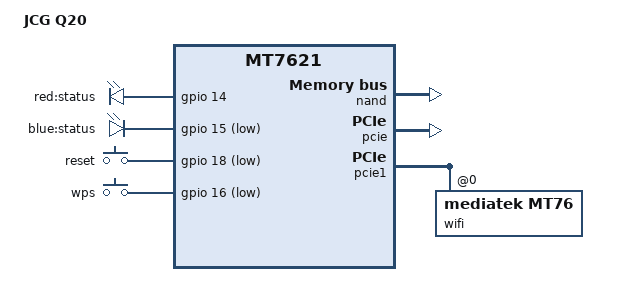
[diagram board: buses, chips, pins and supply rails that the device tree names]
// SPDX-License-Identifier: GPL-2.0-or-later OR MIT

#include "mt7621.dtsi"

#include <dt-bindings/gpio/gpio.h>
#include <dt-bindings/input/input.h>

/ {
	compatible = "jcg,q20", "mediatek,mt7621-soc";
	model = "JCG Q20";

	aliases {
		led-boot = &led_status_red;
		led-failsafe = &led_status_red;
		led-running = &led_status_blue;
		led-upgrade = &led_status_blue;
		label-mac-device = &gmac0;
	};

	chosen {
		bootargs = "console=ttyS0,115200";
	};

	leds {
		compatible = "gpio-leds";

		led_status_red: status_red {
			label = "red:status";
			gpios = <&gpio 14 GPIO_ACTIVE_HIGH>;
		};

		led_status_blue: status_blue {
			label = "blue:status";
			gpios = <&gpio 15 GPIO_ACTIVE_LOW>;
		};
	};

	keys {
		compatible = "gpio-keys";

		reset {
			label = "reset";
			gpios = <&gpio 18 GPIO_ACTIVE_LOW>;
			linux,code = <KEY_RESTART>;
		};

		wps {
			label = "wps";
			gpios = <&gpio 16 GPIO_ACTIVE_LOW>;
			linux,code = <KEY_WPS_BUTTON>;
		};
	};

	ubi-concat {
		compatible = "mtd-concat";
		devices = <&ubiconcat0 &ubiconcat1>;

		partitions {
			compatible = "fixed-partitions";
			#address-cells = <1>;
			#size-cells = <1>;

			partition@0 {
				label = "ubi";
				reg = <0x0 0x5900000>;
			};
		};
	};
};

&nand {
	status = "okay";

	partitions {
		compatible = "fixed-partitions";
		#address-cells = <1>;
		#size-cells = <1>;

		partition@0 {
			label = "Bootloader";
			reg = <0x0 0x80000>;
			read-only;
		};

		partition@80000 {
			label = "Config";
			reg = <0x80000 0x80000>;
		};

		factory: partition@100000 {
			label = "Factory";
			reg = <0x100000 0x80000>;
			read-only;
		};

		partition@180000 {
			label = "kernel";
			reg = <0x180000 0x400000>;
		};

		ubiconcat0: partition@580000 {
			label = "ubiconcat0";
			reg = <0x580000 0x1c00000>;
		};

		partition@2180000 {
			label = "firmware_backup";
			reg = <0x2180000 0x2000000>;
		};

		partition@4180000 {
			label = "rootfs_data_back";
			reg = <0x4180000 0x80000>;
			read-only;
		};

		partition@4200000 {
			label = "nvram_config";
			reg = <0x4200000 0x80000>;
			read-only;
		};

		ubiconcat1: partition@4280000 {
			label = "ubiconcat1";
			reg = <0x4280000 0x3d00000>;
		};

		/*
		 * last 512 KiB are for the bad block table
		 */
	};
};

&pcie {
	status = "okay";
};

&pcie1 {
	wifi@0,0 {
		compatible = "mediatek,mt76";
		reg = <0x0000 0 0 0 0>;
		mediatek,mtd-eeprom = <&factory 0x0>;
	};
};

&gmac0 {
	nvmem-cells = <&macaddr_factory_3fff4>;
	nvmem-cell-names = "mac-address";
};

&switch0 {
	ports {
		port@0 {
			status = "okay";
			label = "wan";
			nvmem-cells = <&macaddr_factory_3fffa>;
			nvmem-cell-names = "mac-address";
		};

		port@1 {
			status = "okay";
			label = "lan1";
		};

		port@4 {
			status = "okay";
			label = "lan2";
		};
	};
};

&state_default {
	gpio {
		groups = "jtag", "wdt";
		function = "gpio";
	};
};

&factory {
	compatible = "nvmem-cells";
	#address-cells = <1>;
	#size-cells = <1>;

	macaddr_factory_3fff4: macaddr@3fff4 {
		reg = <0x3fff4 0x6>;
	};

	macaddr_factory_3fffa: macaddr@3fffa {
		reg = <0x3fffa 0x6>;
	};
};
